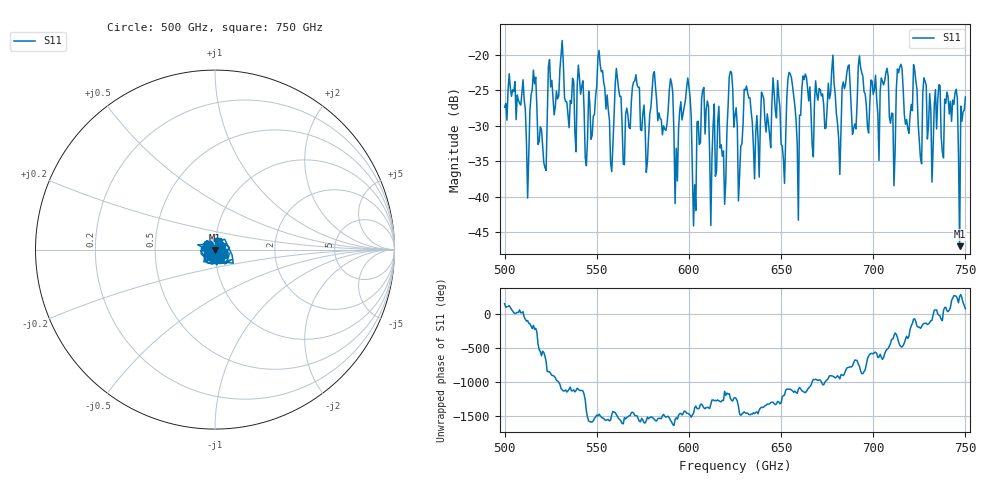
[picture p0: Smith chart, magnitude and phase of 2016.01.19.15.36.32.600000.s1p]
!Created with skrf (http://scikit-rf.org).
# GHz S RI R 50.0
!freq ReS11 ImS11
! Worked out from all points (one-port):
!   401 points, 500 GHz to 750 GHz, reference 50 ohm
!   lowest |S11| = -47.0 dB at 746.9 GHz (marker M1), VSWR 1.01, Z = 49.9 - j0.426 ohm
!   |S11| at or under -10 dB: start of sweep to end of sweep
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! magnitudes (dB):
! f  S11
! 500 GHz  -27.4
! 512.5 GHz  -40.2
! 515.6 GHz  -22.1
! 521.2 GHz  -35.2
! 531.2 GHz  -18.0
! 544.4 GHz  -35.6
! 551.9 GHz  -21.4
! 557.5 GHz  -35.2
! 562.5 GHz  -25.8
! 590 GHz  -23.3
! 593.8 GHz  -37.8
! 599.4 GHz  -23.3
! 603.1 GHz  -38.3
! 608.1 GHz  -24.6
! 618.8 GHz  -33.5
! 622.5 GHz  -22.3
! 625 GHz  -28.5
! 651.2 GHz  -34.7
! 656.2 GHz  -24.4
! 659.4 GHz  -43.3
! 662.5 GHz  -23.5
! 687.5 GHz  -24.5
! 706.9 GHz  -22.5
! 710.6 GHz  -28.3
! 714.4 GHz  -21.7
! 718.8 GHz  -30.4
! 746.9 GHz  -47.0
! 750 GHz  -25.9
